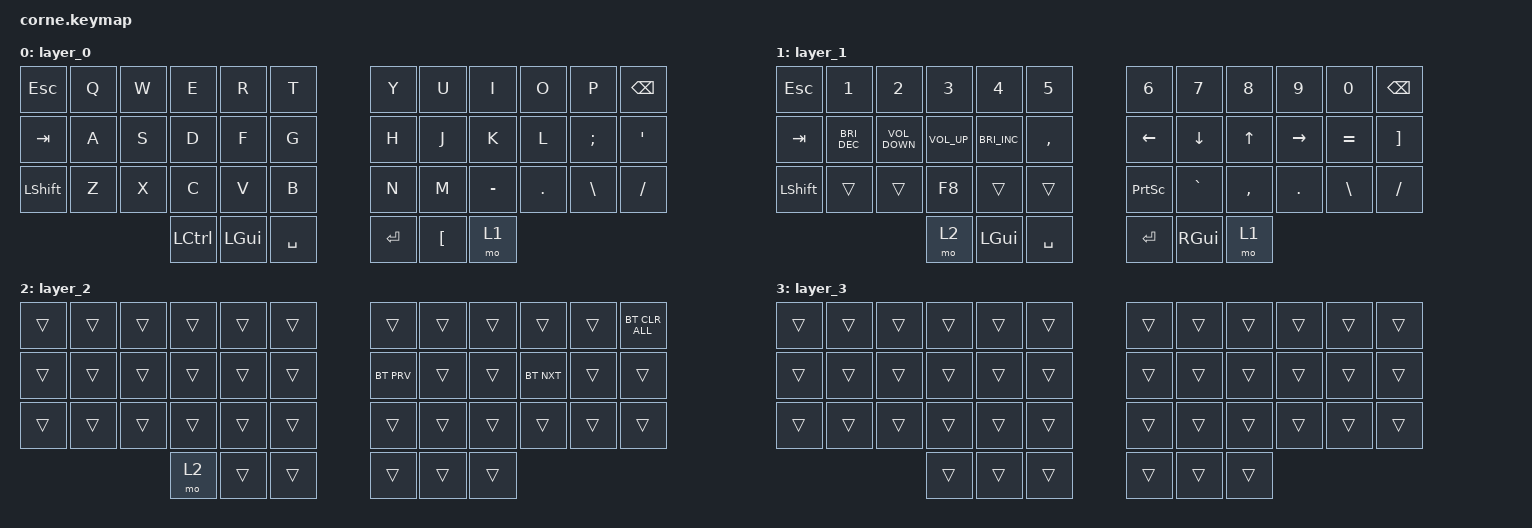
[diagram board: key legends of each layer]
#include <behaviors.dtsi>
#include <dt-bindings/zmk/bt.h>
#include <dt-bindings/zmk/keys.h>

/ {
    keymap {
        compatible = "zmk,keymap";

        layer_0 {
            bindings = <
&kp ESCAPE      &kp Q  &kp W  &kp E             &kp R     &kp T        &kp Y      &kp U             &kp I      &kp O       &kp P          &kp BACKSPACE
&kp TAB         &kp A  &kp S  &kp D             &kp F     &kp G        &kp H      &kp J             &kp K      &kp L       &kp SEMICOLON  &kp SINGLE_QUOTE
&kp LEFT_SHIFT  &kp Z  &kp X  &kp C             &kp V     &kp B        &kp N      &kp M             &kp MINUS  &kp PERIOD  &kp BACKSLASH  &kp SLASH
                              &kp LEFT_CONTROL  &kp LGUI  &kp SPACE    &kp ENTER  &kp LEFT_BRACKET  &mo 1
            >;
        };

        layer_1 {
            bindings = <
&kp ESCAPE      &kp NUMBER_1          &kp NUMBER_2       &kp NUMBER_3     &kp NUMBER_4          &kp N5       &kp NUMBER_6     &kp N7          &kp NUMBER_8  &kp NUMBER_9     &kp NUMBER_0   &kp BACKSPACE
&kp TAB         &kp C_BRIGHTNESS_DEC  &kp C_VOLUME_DOWN  &kp C_VOLUME_UP  &kp C_BRIGHTNESS_INC  &kp COMMA    &kp LEFT_ARROW   &kp DOWN_ARROW  &kp UP_ARROW  &kp RIGHT_ARROW  &kp EQUAL      &kp RIGHT_BRACKET
&kp LEFT_SHIFT  &trans                &trans             &kp F8           &trans                &trans       &kp PRINTSCREEN  &kp GRAVE       &kp COMMA     &kp PERIOD       &kp BACKSLASH  &kp SLASH
                                                         &mo 2            &kp LGUI              &kp SPACE    &kp RETURN       &kp RGUI        &mo 1
            >;
        };

        layer_2 {
            bindings = <
&trans  &trans  &trans  &trans  &trans  &trans    &trans      &trans  &trans  &trans      &trans  &bt BT_CLR_ALL
&trans  &trans  &trans  &trans  &trans  &trans    &bt BT_PRV  &trans  &trans  &bt BT_NXT  &trans  &trans
&trans  &trans  &trans  &trans  &trans  &trans    &trans      &trans  &trans  &trans      &trans  &trans
                        &mo 2   &trans  &trans    &trans      &trans  &trans
            >;
        };

        layer_3 {
            bindings = <
&trans  &trans  &trans  &trans  &trans  &trans    &trans  &trans  &trans  &trans  &trans  &trans
&trans  &trans  &trans  &trans  &trans  &trans    &trans  &trans  &trans  &trans  &trans  &trans
&trans  &trans  &trans  &trans  &trans  &trans    &trans  &trans  &trans  &trans  &trans  &trans
                        &trans  &trans  &trans    &trans  &trans  &trans
            >;
        };
    };
};
